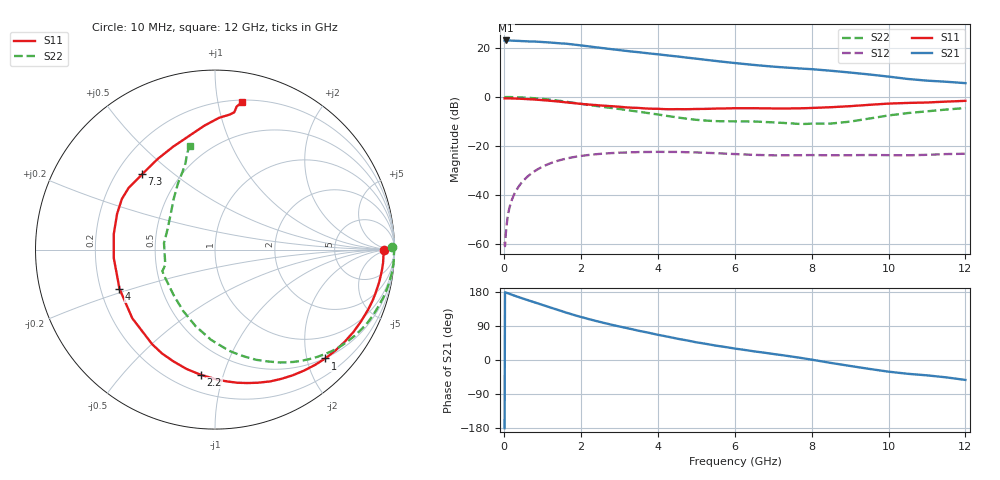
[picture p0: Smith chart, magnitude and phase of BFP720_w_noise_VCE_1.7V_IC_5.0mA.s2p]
! Infineon Technologies  Discrete & RF Semiconductors
! BFP720
! VCE =  1.7 V,  IC =  5.0 mA
! Common Emitter S-Parameters:  Aug 2012
# GHz  S  MA  R  50
!  f  S11  S21  S12  S22
! GHz  MAG  ANG  MAG  ANG  MAG  ANG  MAG  ANG
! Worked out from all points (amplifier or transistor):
!   105 points, 10 MHz to 12 GHz, reference 50 ohm
!   highest |S21| = 23.1 dB at 50 MHz (marker M1)
!   |S21| within 3 dB of that: start of sweep to 2.495 GHz
!   unconditionally stable (mu >= 1): 6.661 GHz to 11.65 GHz
!   at 300 MHz: K = 0.04, MSG = 30.7 dB, |S12| = -38.5 dB
!   at 3.6 GHz: K = 0.48, MSG = 20.3 dB, |S12| = -22.5 dB
!   at 12 GHz: K = 0.88, MSG = 14.4 dB, |S12| = -23.2 dB
!   lowest NFmin = 0.39 dB at 450 MHz
!   S11 on the Smith chart (normalised r, x): 10 MHz: 32, -1; 1 GHz: 0.49, -2.35; 2.2 GHz: 0.31, -0.85; 4 GHz: 0.28, -0.18; 7.3 GHz: 0.31, +0.39; 12 GHz: 0.22, +1.18
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0.01  0.9393 -0.1  14.17 -179.8  0.0011 -28.5  0.987 0.8
0.05  0.939 -2.1  14.29 177.7  0.0019 92.5  0.9972 -1.5
0.15  0.9376 -6.6  14.25 174.1  0.006 86.5  0.9969 -4.7
0.4  0.9233 -17.6  13.97 165.2  0.0158 79.1  0.9829 -12.7
0.8  0.8862 -35.5  13.58 151.8  0.0309 68.1  0.9437 -25.3
1  0.8635 -44.6  13.27 145.2  0.0379 62.5  0.9149 -31.6
1.3  0.8236 -58.2  12.78 135.3  0.0473 54.3  0.8637 -40.8
1.6  0.7794 -72.1  12.29 125.4  0.055 46.5  0.8045 -49.4
2.1  0.7127 -92.4  11.05 110.8  0.0641 35.0  0.7064 -62.4
2.2  0.7029 -96.3  10.82 107.9  0.0656 33.0  0.6885 -64.8
2.6  0.6647 -110.3  9.897 97.7  0.07 25.6  0.6241 -73.7
3  0.6331 -123.5  9.084 88.3  0.073 19.1  0.5687 -82.1
3.5  0.599 -140.3  8.225 77.1  0.0752 11.9  0.5027 -92.6
4  0.5752 -157.7  7.453 66.5  0.0759 5.7  0.4407 -104.1
4.1  0.5691 -161.1  7.294 64.6  0.0758 4.5  0.4277 -106.5
5  0.5706 171.3  6.066 46.6  0.0739 -5.1  0.3425 -132.4
6.1  0.5902 150.0  4.854 28.8  0.068 -12.1  0.3182 -154.5
7.3  0.5838 134.1  4.014 11.8  0.0646 -13.7  0.2946 -162.1
8.5  0.6192 112.1  3.439 -7.7  0.0647 -16.8  0.2872 157.2
9.5  0.6931 94.9  2.889 -23.5  0.0654 -18.8  0.3634 129.4
10.5  0.7572 83.7  2.338 -36.4  0.0646 -20.6  0.4702 112.6
12  0.8351 79.6  1.921 -52.6  0.0694 -24.3  0.5963 103.7
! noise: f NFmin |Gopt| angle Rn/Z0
0.45  0.39  0.49  4  0.18
1.8  0.49  0.47  25  0.14
2.4  0.53  0.34  60  0.19
5.5  0.68  0.22  65  0.13
10  0.97  0.4  -93  0.22
